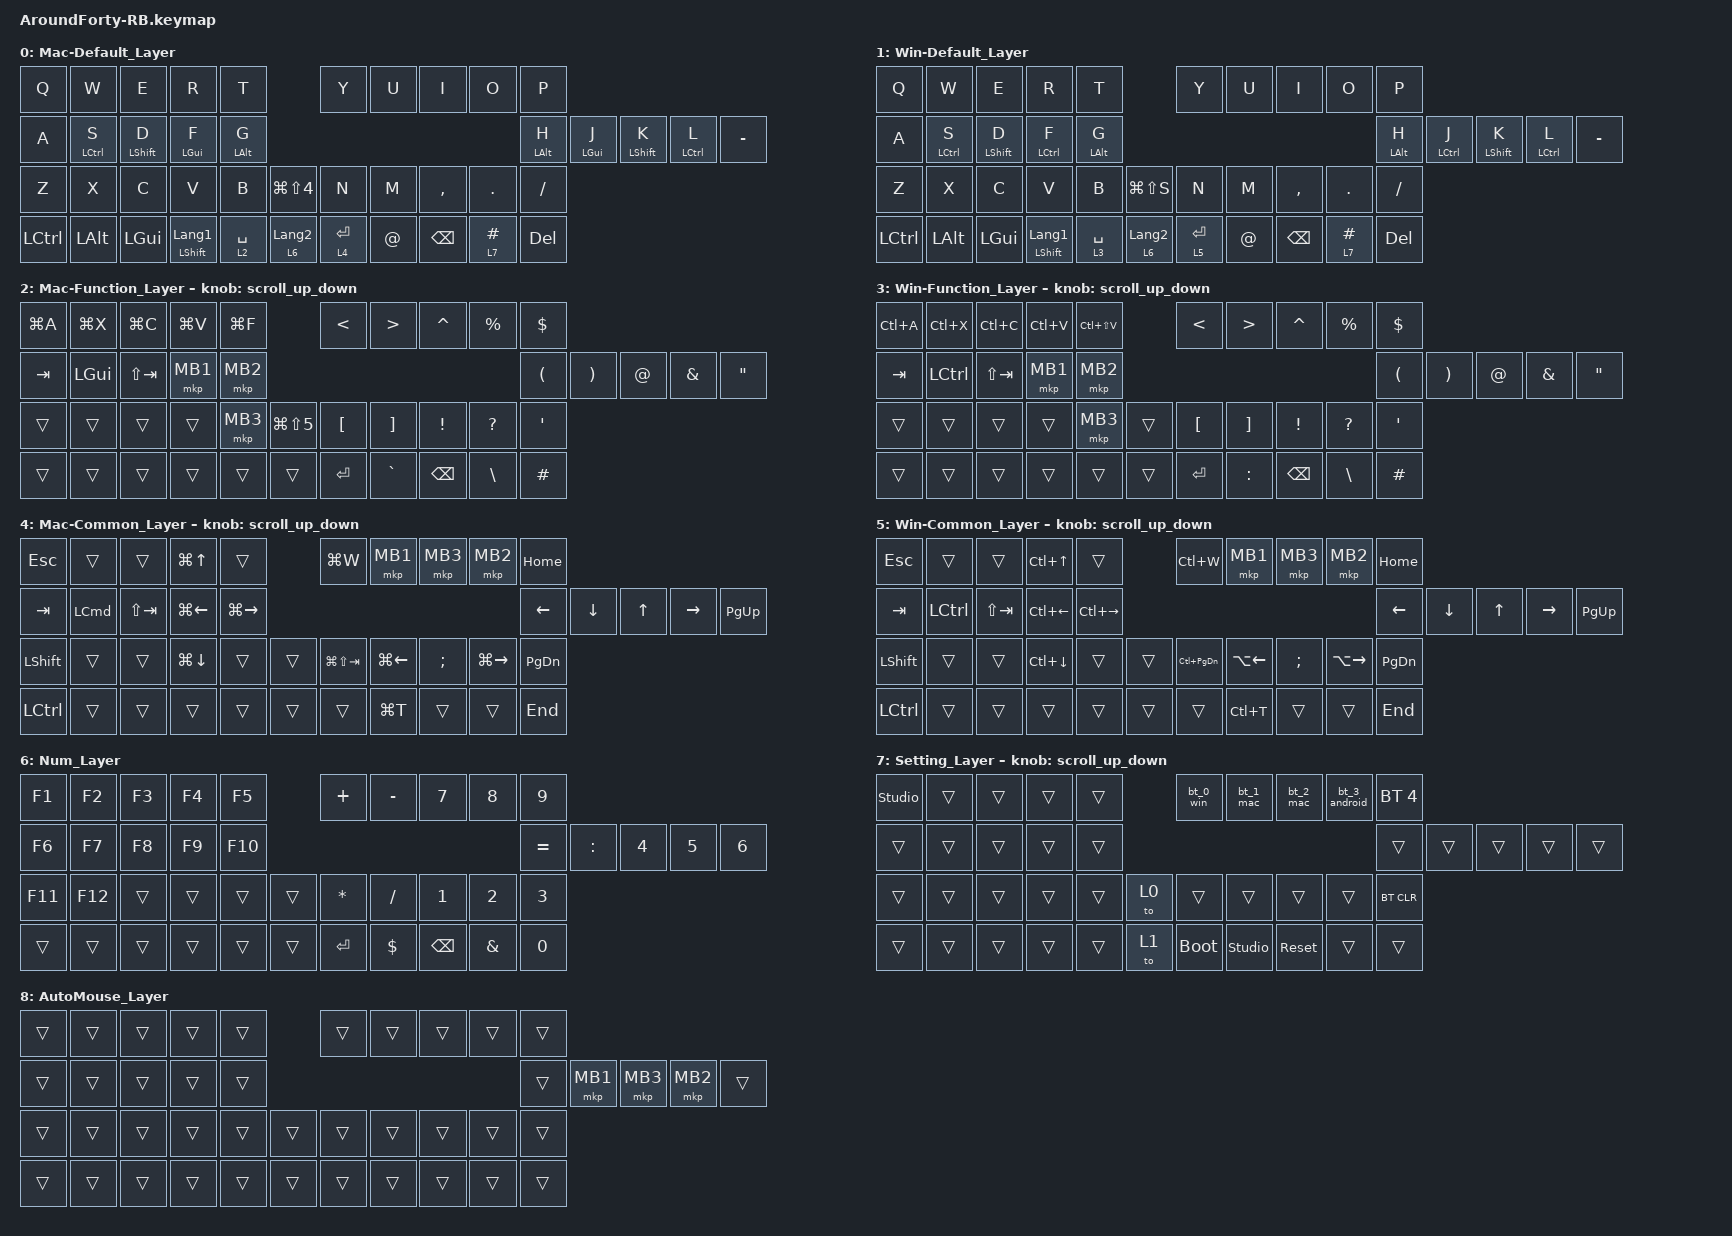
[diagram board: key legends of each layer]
#define ZMK_POINTING_DEFAULT_SCRL_VAL 100
#define MOUSE 6

#include <behaviors/rgbled_widget.dtsi>  // needed to use the behaviors
#include <behaviors.dtsi>
#include <dt-bindings/zmk/bt.h>
#include <dt-bindings/zmk/keys.h>
#include <dt-bindings/zmk/pointing.h>

&mt {
    flavor = "balanced";
    quick-tap-ms = <0>;
};

/ {
    combos { compatible = "zmk,combos"; };

    macros {
        to_layer_0: to_layer_0 {
            compatible = "zmk,behavior-macro-one-param";
            #binding-cells = <1>;
            bindings = <&to 0 &macro_param_1to1 &kp MACRO_PLACEHOLDER>;
            label = "TO_LAYER_0";
        };

        bt_0_win: bt_0_win {
            compatible = "zmk,behavior-macro";
            #binding-cells = <0>;
            bindings = <&to 1>, <&macro_wait_time 200>, <&bt BT_SEL 0>;

            label = "BT_0_WIN";
            wait-ms = <200>;
        };

        bt_1_mac: bt_1_mac {
            compatible = "zmk,behavior-macro";
            #binding-cells = <0>;
            bindings = <&to 0>, <&macro_wait_time 200>, <&bt BT_SEL 1>;

            label = "BT_1_MAC";
        };

        bt_2_mac: bt_2_mac {
            compatible = "zmk,behavior-macro";
            #binding-cells = <0>;
            bindings = <&bt BT_SEL 2>, <&macro_wait_time 200>, <&to 0>;

            label = "BT_2_MAC";
        };

        bt_3_android: bt_3_android {
            compatible = "zmk,behavior-macro";
            #binding-cells = <0>;
            bindings = <&to 1>, <&macro_wait_time 200>, <&bt BT_SEL 3>;

            label = "BT_3_ANDROID";
        };
    };

    behaviors {
        // ホーム段の mod-tap。打鍵の流れの中では tap、反対の手のキーと組み合わせたときだけ mod にする
        hml: homerow_mod_left {
            compatible = "zmk,behavior-hold-tap";
            label = "HOMEROW_MOD_LEFT";
            bindings = <&kp>, <&kp>;

            #binding-cells = <2>;
            flavor = "balanced";
            tapping-term-ms = <280>;
            quick-tap-ms = <175>;
            require-prior-idle-ms = <150>;
            hold-trigger-key-positions = <5 6 7 8 9 15 16 17 18 19 26 27 28 29 30 37 38 39 40 41 34 35 36>;
            hold-trigger-on-release;
        };

        hmr: homerow_mod_right {
            compatible = "zmk,behavior-hold-tap";
            label = "HOMEROW_MOD_RIGHT";
            bindings = <&kp>, <&kp>;

            #binding-cells = <2>;
            flavor = "balanced";
            tapping-term-ms = <280>;
            quick-tap-ms = <175>;
            require-prior-idle-ms = <150>;
            hold-trigger-key-positions = <0 1 2 3 4 10 11 12 13 14 20 21 22 23 24 25 31 32 33 34 35 36 37 38 39>;
            hold-trigger-on-release;
        };

        // S と L は balanced にしない。薬指は離すのが遅れやすく、反対の手のキーと
        // 重なっただけで Ctrl に化けて文字が飛ぶため、押した時間だけで判定する
        hmt: homerow_mod_time {
            compatible = "zmk,behavior-hold-tap";
            label = "HOMEROW_MOD_TIME";
            bindings = <&kp>, <&kp>;

            #binding-cells = <2>;
            flavor = "tap-preferred";
            tapping-term-ms = <280>;
            quick-tap-ms = <175>;
            require-prior-idle-ms = <150>;
        };

        lt_to_layer_0: lt_to_layer_0 {
            compatible = "zmk,behavior-hold-tap";
            label = "LAYER_TAP_TO_0";
            bindings = <&mo>, <&to_layer_0>;

            #binding-cells = <2>;
            tapping-term-ms = <200>;
        };

        scroll_up_down: behavior_sensor_rotate_mouse_wheel_up_down {
            compatible = "zmk,behavior-sensor-rotate";
            #sensor-binding-cells = <0>;
            bindings = <&msc SCRL_UP>, <&msc SCRL_DOWN>;

            tap-ms = <20>;
        };
    };

    keymap {
        compatible = "zmk,keymap";

        Mac-Default_Layer {
            bindings = <
&kp Q      &kp W         &kp E         &kp R                      &kp T                          &kp Y        &kp U        &kp I          &kp O       &kp P
&kp A      &hmt LCTRL S         &hml LSHFT D         &hml LGUI F                      &hml LALT G                          &hmr LALT H        &hmr LGUI J        &hmr LSHFT K          &hmt LCTRL L       &kp MINUS
&kp Z      &kp X         &kp C         &kp V                      &kp B        &kp LG(LS(N4))    &kp N        &kp M        &kp COMMA      &kp PERIOD  &kp SLASH
&kp LCTRL  &kp LEFT_ALT  &kp LEFT_GUI  &mt LEFT_SHIFT LANGUAGE_1  &lt 2 SPACE  &lt 6 LANGUAGE_2  &lt 4 ENTER  &kp AT_SIGN  &kp BACKSPACE  &lt 7 HASH  &kp DELETE
            >;
        };

        Win-Default_Layer {
            bindings = <
&kp Q      &kp W         &kp E         &kp R                      &kp T                          &kp Y        &kp U        &kp I          &kp O       &kp P
&kp A      &hmt LCTRL S         &hml LSHFT D         &hml LCTRL F                      &hml LALT G                          &hmr LALT H        &hmr LCTRL J        &hmr LSHFT K          &hmt LCTRL L       &kp MINUS
&kp Z      &kp X         &kp C         &kp V                      &kp B        &kp LG(LS(S))     &kp N        &kp M        &kp COMMA      &kp PERIOD  &kp SLASH
&kp LCTRL  &kp LEFT_ALT  &kp LEFT_GUI  &mt LEFT_SHIFT LANGUAGE_1  &lt 3 SPACE  &lt 6 LANGUAGE_2  &lt 5 ENTER  &kp AT_SIGN  &kp BACKSPACE  &lt 7 HASH  &kp DELETE
            >;
        };

        Mac-Function_Layer {
            bindings = <
&kp LG(A)  &kp LG(X)     &kp LG(C)    &kp LG(V)  &kp LG(F)                  &kp LESS_THAN         &kp GREATER_THAN       &kp CARET        &kp PERCENT    &kp DOLLAR
&kp TAB    &kp LEFT_GUI  &kp LS(TAB)  &mkp MB1   &mkp MB2                   &kp LEFT_PARENTHESIS  &kp RIGHT_PARENTHESIS  &kp AT_SIGN      &kp AMPERSAND  &kp DOUBLE_QUOTES
&trans     &trans        &trans       &trans     &mkp MB3   &kp LG(LS(N5))  &kp LEFT_BRACKET      &kp RIGHT_BRACKET      &kp EXCLAMATION  &kp QUESTION   &kp SQT
&trans     &trans        &trans       &trans     &trans     &trans          &kp ENTER             &kp GRAVE              &kp BACKSPACE    &kp BACKSLASH  &kp HASH
            >;

            sensor-bindings = <&scroll_up_down>;
        };

        Win-Function_Layer {
            bindings = <
&kp LC(A)  &kp LC(X)  &kp LC(C)    &kp LC(V)  &kp LC(LS(V))          &kp LESS_THAN         &kp GREATER_THAN       &kp CARET        &kp PERCENT    &kp DOLLAR
&kp TAB    &kp LCTRL  &kp LS(TAB)  &mkp MB1   &mkp MB2               &kp LEFT_PARENTHESIS  &kp RIGHT_PARENTHESIS  &kp AT_SIGN      &kp AMPERSAND  &kp DOUBLE_QUOTES
&trans     &trans     &trans       &trans     &mkp MB3       &trans  &kp LEFT_BRACKET      &kp RIGHT_BRACKET      &kp EXCLAMATION  &kp QUESTION   &kp SQT
&trans     &trans     &trans       &trans     &trans         &trans  &kp ENTER             &kp COLON              &kp BACKSPACE    &kp BACKSLASH  &kp HASH
            >;

            sensor-bindings = <&scroll_up_down>;
        };

        Mac-Common_Layer {
            bindings = <
&kp ESCAPE      &trans    &trans       &kp LG(UP_ARROW)    &trans                       &kp LG(W)        &mkp MB1            &mkp MB3      &mkp MB2             &kp HOME
&kp TAB         &kp LCMD  &kp LS(TAB)  &kp LG(LEFT_ARROW)  &kp LG(RIGHT_ARROW)          &kp LEFT_ARROW   &kp DOWN_ARROW      &kp UP_ARROW  &kp RIGHT_ARROW      &kp PAGE_UP
&kp LEFT_SHIFT  &trans    &trans       &kp LG(DOWN_ARROW)  &trans               &trans  &kp LG(LS(TAB))  &kp LG(LEFT_ARROW)  &kp SEMI      &kp LG(RIGHT_ARROW)  &kp PAGE_DOWN
&kp LCTRL       &trans    &trans       &trans              &trans               &trans  &trans           &kp LG(T)           &trans        &trans               &kp END
            >;

            sensor-bindings = <&scroll_up_down>;
        };

        Win-Common_Layer {
            bindings = <
&kp ESCAPE      &trans     &trans       &kp LC(UP_ARROW)    &trans                       &kp LC(W)          &mkp MB1            &mkp MB3       &mkp MB2             &kp HOME
&kp TAB         &kp LCTRL  &kp LS(TAB)  &kp LC(LEFT_ARROW)  &kp LC(RIGHT_ARROW)          &kp LEFT_ARROW     &kp DOWN_ARROW      &kp UP_ARROW   &kp RIGHT_ARROW      &kp PAGE_UP
&kp LEFT_SHIFT  &trans     &trans       &kp LC(DOWN_ARROW)  &trans               &trans  &kp LC(PAGE_DOWN)  &kp LA(LEFT_ARROW)  &kp SEMICOLON  &kp LA(RIGHT_ARROW)  &kp PAGE_DOWN
&kp LCTRL       &trans     &trans       &trans              &trans               &trans  &trans             &kp LC(T)           &trans         &trans               &kp END
            >;

            sensor-bindings = <&scroll_up_down>;
        };

        Num_Layer {
            bindings = <
&kp F1   &kp F2   &kp F3  &kp F4  &kp F5           &kp PLUS      &kp MINUS   &kp NUMBER_7   &kp NUMBER_8   &kp NUMBER_9
&kp F6   &kp F7   &kp F8  &kp F9  &kp F10          &kp EQUAL     &kp COLON   &kp N4         &kp N5         &kp N6
&kp F11  &kp F12  &trans  &trans  &trans   &trans  &kp ASTERISK  &kp SLASH   &kp NUMBER_1   &kp NUMBER_2   &kp NUMBER_3
&trans   &trans   &trans  &trans  &trans   &trans  &kp ENTER     &kp DOLLAR  &kp BACKSPACE  &kp AMPERSAND  &kp N0
            >;
        };

        Setting_Layer {
            bindings = <
&studio_unlock  &trans  &trans  &trans  &trans         &bt_0_win    &bt_1_mac       &bt_2_mac   &bt_3_android  &bt BT_SEL 4
&trans          &trans  &trans  &trans  &trans         &trans       &trans          &trans      &trans         &trans
&trans          &trans  &trans  &trans  &trans  &to 0  &trans       &trans          &trans      &trans         &bt BT_CLR
&trans          &trans  &trans  &trans  &trans  &to 1  &bootloader  &studio_unlock  &sys_reset  &trans         &trans
            >;

            sensor-bindings = <&scroll_up_down>;
        };

        AutoMouse_Layer {
            bindings = <
&trans  &trans  &trans  &trans  &trans          &trans  &trans    &trans    &trans    &trans
&trans  &trans  &trans  &trans  &trans          &trans  &mkp MB1  &mkp MB3  &mkp MB2  &trans
&trans  &trans  &trans  &trans  &trans  &trans  &trans  &trans    &trans    &trans    &trans
&trans  &trans  &trans  &trans  &trans  &trans  &trans  &trans    &trans    &trans    &trans
            >;
        };
    };
};
